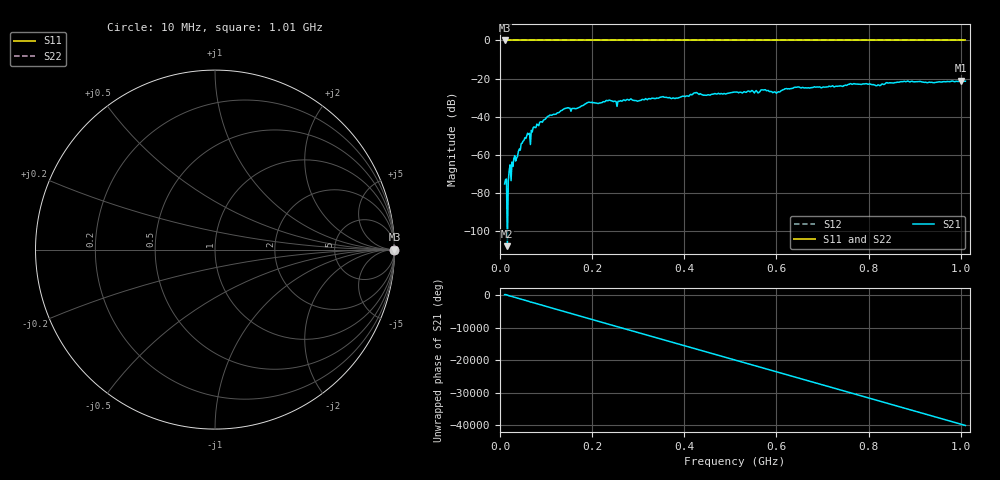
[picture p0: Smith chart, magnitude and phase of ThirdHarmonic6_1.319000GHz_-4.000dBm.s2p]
! 8/16/2025 2:38:51 PM
! C:\ANRITSUVNA\TEMP\TEMP.S2P
! CHANNEL.1
! TR.MEASUREMENT
! RAW.DATA
! RF.CORRECTION.OFF
! AVERAGING.OFF
! IF.BANDWIDTH: 5KHZ
! SWEEPTYPE:  FREQ.SWEEP(Linear)
! Reference Plane Port Info
! PORT:  PORT1  PORT2
! DISTANCE:  0  m  0  m
! TIME:  0  s  0  s
! PHASE.OFFSET:  0  deg.  0  deg.
! LOSS:  0  dB  0  dB
! REF.LOSS:  0  dB  0  dB
! REF.FREQ:  0  Hz  0  Hz
! Power Info
! POWER:  -20  dBm  -20  dBm
! EFF.POWER:  -20  dBm  -20  dBm
! SOURCE.ATTEN:  0  dB  0  dB
! TEST.ATTEN:  0  dB  0  dB
# GHZ S RI R 50.0
! FREQ.GHZ  S11RE  S11IM  S21RE  S21IM  S12RE  S12IM  S22RE  S22IM
!; PortSelection: Port_12
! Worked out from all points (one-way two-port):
!   501 points, 10 MHz to 1.01 GHz, reference 50 ohm
!   highest |S21| = -20.98 dB at 1 GHz (marker M1); lowest = -107.8 dB at 16 MHz (marker M2)
!   lowest |S11| = 0.0 dB at 10 MHz (marker M3)
!   |S11| at or under -10 dB: nowhere
!   |S22| runs from 0.0 to 0.0 dB; largest |S21 - S12| = 1.1
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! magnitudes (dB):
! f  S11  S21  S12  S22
! 10 MHz  0.0  -75.2  0.0  0.0
! 16 MHz  0.0  -107.8  0.0  0.0
! 20 MHz  0.0  -68.1  0.0  0.0
! 22 MHz  0.0  -65.2  0.0  0.0
! 30 MHz  0.0  -61.9  0.0  0.0
! 50 MHz  0.0  -52.8  0.0  0.0
! 66 MHz  0.0  -54.6  0.0  0.0
! 76 MHz  0.0  -45.7  0.0  0.0
! 106 MHz  0.0  -39.5  0.0  0.0
! 140 MHz  0.0  -35.7  0.0  0.0
! 178 MHz  0.0  -34.2  0.0  0.0
! 234 MHz  0.0  -31.6  0.0  0.0
! 256 MHz  0.0  -31.9  0.0  0.0
! 344 MHz  0.0  -30.2  0.0  0.0
! 510 MHz  0.0  -27.0  0.0  0.0
! 572 MHz  0.0  -26.0  0.0  0.0
! 602 MHz  0.0  -27.2  0.0  0.0
! 642 MHz  0.0  -24.5  0.0  0.0
! 678 MHz  0.0  -24.7  0.0  0.0
! 844 MHz  0.0  -22.2  0.0  0.0
! 1 GHz  0.0  -21.0  0.0  0.0
! 1.01 GHz  0.0  -21.4  0.0  0.0
